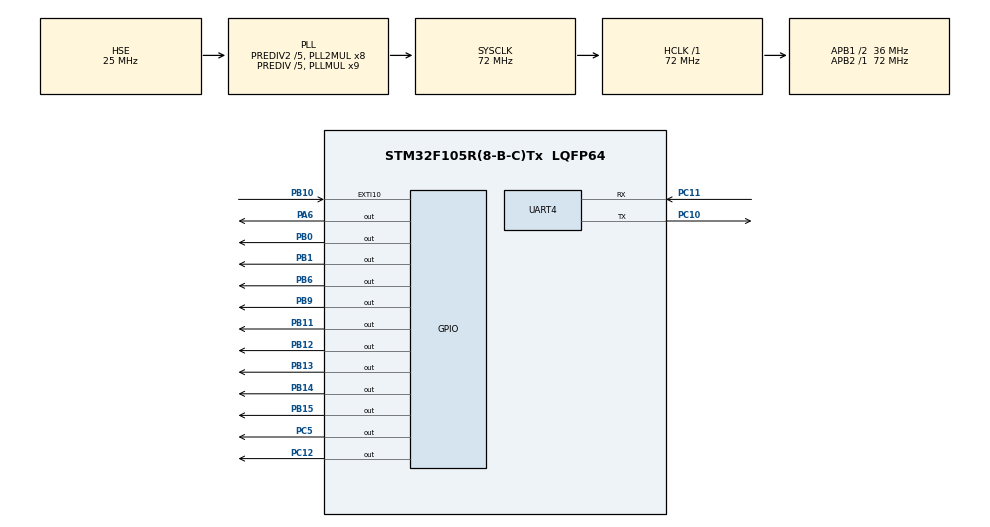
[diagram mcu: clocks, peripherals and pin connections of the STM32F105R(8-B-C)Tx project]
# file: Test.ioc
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Mcu.Family=STM32F1
Mcu.Name=STM32F105R(8-B-C)Tx
Mcu.Package=LQFP64
NVIC.EXTI15_10_IRQn=true\:0\:0\:false\:false\:true\:true\:true\:true
NVIC.PriorityGroup=NVIC_PRIORITYGROUP_4
NVIC.UART4_IRQn=true\:0\:0\:false\:false\:true\:true\:true\:true
PA6.Signal=GPIO_Output
PB0.Signal=GPIO_Output
PB1.Signal=GPIO_Output
PB10.GPIO_PuPd=GPIO_PULLUP
PB10.Signal=GPXTI10
PB11.Signal=GPIO_Output
PB12.Signal=GPIO_Output
PB13.Signal=GPIO_Output
PB14.Signal=GPIO_Output
PB15.Signal=GPIO_Output
PB6.Signal=GPIO_Output
PB9.Signal=GPIO_Output
PC10.Mode=Asynchronous
PC10.Signal=UART4_TX
PC11.Mode=Asynchronous
PC11.Signal=UART4_RX
PC12.Signal=GPIO_Output
PC5.Signal=GPIO_Output
PD0-OSC_IN.Mode=HSE-External-Oscillator
PD0-OSC_IN.Signal=RCC_OSC_IN
PD1-OSC_OUT.Mode=HSE-External-Oscillator
PD1-OSC_OUT.Signal=RCC_OSC_OUT
ProjectManager.HeapSize=0x200
ProjectManager.StackSize=0x400
ProjectManager.TargetToolchain=STM32CubeIDE
RCC.AHBFreq_Value=72000000
RCC.APB1CLKDivider=RCC_HCLK_DIV2
RCC.APB1Freq_Value=36000000
RCC.APB1TimFreq_Value=72000000
RCC.APB2Freq_Value=72000000
RCC.APB2TimFreq_Value=72000000
RCC.HCLKFreq_Value=72000000
RCC.HSEDivPLL=RCC_HSE_PREDIV_DIV5
RCC.HSE_VALUE=25000000
RCC.PLLMUL=RCC_PLL_MUL9
RCC.PLLSourceVirtual=RCC_PLLSOURCE_HSE
RCC.Prediv1Source=RCC_PREDIV1_SOURCE_PLL2
RCC.Prediv2=RCC_HSE_PREDIV2_DIV5
RCC.SYSCLKFreq_VALUE=72000000
RCC.SYSCLKSource=RCC_SYSCLKSOURCE_PLLCLK
RCC.USBFreq_Value=48000000
UART4.VirtualMode=Asynchronous
VP_SYS_VS_ND.Mode=No_Debug
board=custom

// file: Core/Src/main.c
/* USER CODE BEGIN Header */
/**
  ******************************************************************************
  * @file           : main.c
  * @brief          : Main program body
  ******************************************************************************
  * @attention
  *
  * Copyright (c) 2022 STMicroelectronics.
  * All rights reserved.
  *
  * This software is licensed under terms that can be found in the LICENSE file
  * in the root directory of this software component.
  * If no LICENSE file comes with this software, it is provided AS-IS.
  *
  ******************************************************************************
  */
/* USER CODE END Header */
#include "main.h"

/* USER CODE BEGIN PD */
// UART ?��?��?�� ?��?�� ?��?��
#define RxBufferSize	0xFF
#define countof(a)	(sizeof(a) / sizeof(*(a)))
uint8_t RxBuffer[RxBufferSize];
/* USER CODE END PD */

 UART_HandleTypeDef huart4;

/* USER CODE BEGIN PV */
char i=0, cnt=1;
char final_flag = 0;
char msg[10] = { };
char temp_msg[10] = { };
int port_num = 0;
char total_cnt = 0;

uint8_t TxBuffer02[] ="\r----------------------------------------------------------\n";
uint8_t TxBuffer03[] ="\r              ** Power Board Port Control **              \n";
uint8_t TxBuffer04[] ="\r----------------------------------------------------------\n";
uint8_t TxBuffer05[] ="\r[PA6]  : LIDAR_IN_CTRL			\n";
uint8_t TxBuffer06[] ="\r[PB14] : WAKE2_1				\n";
uint8_t TxBuffer07[] ="\r[PB12] : WAKE2_2				\n";
uint8_t TxBuffer08[] ="\r[PB15] : WAKE1_1				\n";
uint8_t TxBuffer09[] ="\r[PB13] : WAKE1_2				\n";
uint8_t TxBuffer10[] ="\r[PB9]  : PWRON_LED_CTL			\n";
uint8_t TxBuffer11[] ="\r[PB1]  : GPU_IN_CTRL			\n";
uint8_t TxBuffer12[] ="\r[PC12] : FAN_12V_ON			\n";
uint8_t TxBuffer13[] ="\r[PB11] : PWR_SHUTDOWN			\n";
uint8_t TxBuffer14[] ="\r[PB6]  : VCC_5V_EN_1			\n";
uint8_t TxBuffer15[] ="\r[PB0]  : AP_GATEWAY_IN_CTRL	\n";
uint8_t TxBuffer16[] ="\r[PC5]  : VCC_5V_EN_2			\n";
uint8_t TxBuffer17[] ="\r----------------------------------------------------------\n";
uint8_t TxBuffer18[] ="\rEX) Type 'PA6 H' or 'PB12 L' 	\n";
uint8_t TxBuffer19[] ="\r----------------------------------------------------------\n\r[Input Command] : ";

/* USER CODE END PV */

void SystemClock_Config(void);
static void MX_GPIO_Init(void);
static void MX_UART4_Init(void);
/* USER CODE BEGIN PFP */
struct GPIO_PORT {
	GPIO_TypeDef	*GPIOx;
	uint16_t		GPIO_Pin;
	GPIO_PinState	PinState;
}gpio;
/* USER CODE END PFP */

/* USER CODE BEGIN 0 */
/* Private function prototypes -----------------------------------------------*/
#ifdef __GNUC__
/* With GCC, small printf (option LD Linker->Libraries->Small printf
   set to 'Yes') calls __io_putchar() */
#define PUTCHAR_PROTOTYPE int __io_putchar(int ch)
#else
#define PUTCHAR_PROTOTYPE int fputc(int ch, FILE *f)
#endif /* __GNUC__ */
/* USER CODE END 0 */

int main(void)
{

  /* MCU Configuration--------------------------------------------------------*/

  /* Reset of all peripherals, Initializes the Flash interface and the Systick. */
  HAL_Init();

  /* Configure the system clock */
  SystemClock_Config();

  /* Initialize all configured peripherals */
  MX_GPIO_Init();
  MX_UART4_Init();
  /* USER CODE BEGIN 2 */
  Menu_Config();
  HAL_UART_Receive_IT(&huart4, (uint8_t*)RxBuffer, 1);
  /* USER CODE END 2 */

  /* Infinite loop */
  while (1)
  {

  }
}

void SystemClock_Config(void)
{
  RCC_OscInitTypeDef RCC_OscInitStruct = {0};
  RCC_ClkInitTypeDef RCC_ClkInitStruct = {0};

  /** Initializes the RCC Oscillators according to the specified parameters
  * in the RCC_OscInitTypeDef structure.
  */
  RCC_OscInitStruct.OscillatorType = RCC_OSCILLATORTYPE_HSE;
  RCC_OscInitStruct.HSEState = RCC_HSE_ON;
  RCC_OscInitStruct.HSEPredivValue = RCC_HSE_PREDIV_DIV5;
  RCC_OscInitStruct.HSIState = RCC_HSI_ON;
  RCC_OscInitStruct.Prediv1Source = RCC_PREDIV1_SOURCE_PLL2;
  RCC_OscInitStruct.PLL.PLLState = RCC_PLL_ON;
  RCC_OscInitStruct.PLL.PLLSource = RCC_PLLSOURCE_HSE;
  RCC_OscInitStruct.PLL.PLLMUL = RCC_PLL_MUL9;
  RCC_OscInitStruct.PLL2.PLL2State = RCC_PLL2_ON;
  RCC_OscInitStruct.PLL2.PLL2MUL = RCC_PLL2_MUL8;
  RCC_OscInitStruct.PLL2.HSEPrediv2Value = RCC_HSE_PREDIV2_DIV5;
  if (HAL_RCC_OscConfig(&RCC_OscInitStruct) != HAL_OK)
  {
    Error_Handler();
  }

  /** Initializes the CPU, AHB and APB buses clocks
  */
  RCC_ClkInitStruct.ClockType = RCC_CLOCKTYPE_HCLK|RCC_CLOCKTYPE_SYSCLK
                              |RCC_CLOCKTYPE_PCLK1|RCC_CLOCKTYPE_PCLK2;
  RCC_ClkInitStruct.SYSCLKSource = RCC_SYSCLKSOURCE_PLLCLK;
  RCC_ClkInitStruct.AHBCLKDivider = RCC_SYSCLK_DIV1;
  RCC_ClkInitStruct.APB1CLKDivider = RCC_HCLK_DIV2;
  RCC_ClkInitStruct.APB2CLKDivider = RCC_HCLK_DIV1;

  if (HAL_RCC_ClockConfig(&RCC_ClkInitStruct, FLASH_LATENCY_2) != HAL_OK)
  {
    Error_Handler();
  }

  /** Configure the Systick interrupt time
  */
  __HAL_RCC_PLLI2S_ENABLE();
}

static void MX_UART4_Init(void)
{

  huart4.Instance = UART4;
  huart4.Init.BaudRate = 115200;
  huart4.Init.WordLength = UART_WORDLENGTH_8B;
  huart4.Init.StopBits = UART_STOPBITS_1;
  huart4.Init.Parity = UART_PARITY_NONE;
  huart4.Init.Mode = UART_MODE_TX_RX;
  huart4.Init.HwFlowCtl = UART_HWCONTROL_NONE;
  huart4.Init.OverSampling = UART_OVERSAMPLING_16;
  if (HAL_UART_Init(&huart4) != HAL_OK)
  {
    Error_Handler();
  }

}

static void MX_GPIO_Init(void)
{
  GPIO_InitTypeDef GPIO_InitStruct = {0};

  /* GPIO Ports Clock Enable */
  __HAL_RCC_GPIOD_CLK_ENABLE();
  __HAL_RCC_GPIOA_CLK_ENABLE();
  __HAL_RCC_GPIOC_CLK_ENABLE();
  __HAL_RCC_GPIOB_CLK_ENABLE();

  /*Configure GPIO pin Output Level */
  HAL_GPIO_WritePin(GPIOA, GPIO_PIN_6, GPIO_PIN_RESET);

  /*Configure GPIO pin Output Level */
  HAL_GPIO_WritePin(GPIOC, GPIO_PIN_5|GPIO_PIN_12, GPIO_PIN_RESET);

  /*Configure GPIO pin Output Level */
  HAL_GPIO_WritePin(GPIOB, GPIO_PIN_0|GPIO_PIN_1|GPIO_PIN_11|GPIO_PIN_12
                          |GPIO_PIN_13|GPIO_PIN_14|GPIO_PIN_15|GPIO_PIN_6
                          |GPIO_PIN_9, GPIO_PIN_RESET);

  /*Configure GPIO pin : PA6 */
  GPIO_InitStruct.Pin = GPIO_PIN_6;
  GPIO_InitStruct.Mode = GPIO_MODE_OUTPUT_PP;
  GPIO_InitStruct.Pull = GPIO_NOPULL;
  GPIO_InitStruct.Speed = GPIO_SPEED_FREQ_LOW;
  HAL_GPIO_Init(GPIOA, &GPIO_InitStruct);

  /*Configure GPIO pins : PC5 PC12 */
  GPIO_InitStruct.Pin = GPIO_PIN_5|GPIO_PIN_12;
  GPIO_InitStruct.Mode = GPIO_MODE_OUTPUT_PP;
  GPIO_InitStruct.Pull = GPIO_NOPULL;
  GPIO_InitStruct.Speed = GPIO_SPEED_FREQ_LOW;
  HAL_GPIO_Init(GPIOC, &GPIO_InitStruct);

  /*Configure GPIO pins : PB0 PB1 PB11 PB12
                           PB13 PB14 PB15 PB6
                           PB9 */
  GPIO_InitStruct.Pin = GPIO_PIN_0|GPIO_PIN_1|GPIO_PIN_11|GPIO_PIN_12
                          |GPIO_PIN_13|GPIO_PIN_14|GPIO_PIN_15|GPIO_PIN_6
                          |GPIO_PIN_9;
  GPIO_InitStruct.Mode = GPIO_MODE_OUTPUT_PP;
  GPIO_InitStruct.Pull = GPIO_NOPULL;
  GPIO_InitStruct.Speed = GPIO_SPEED_FREQ_LOW;
  HAL_GPIO_Init(GPIOB, &GPIO_InitStruct);

  /*Configure GPIO pin : PB10 */
  GPIO_InitStruct.Pin = GPIO_PIN_10;
  GPIO_InitStruct.Mode = GPIO_MODE_IT_RISING;
  GPIO_InitStruct.Pull = GPIO_PULLUP;
  HAL_GPIO_Init(GPIOB, &GPIO_InitStruct);

  /* EXTI interrupt init*/
  HAL_NVIC_SetPriority(EXTI15_10_IRQn, 0, 0);
  HAL_NVIC_EnableIRQ(EXTI15_10_IRQn);

}

/* USER CODE BEGIN 4 */

void Menu_Config(void)
{
	/*
	printf("\n----------------------------------------------------------\r");
	printf("              ** Power Board Port Control **              \r");
	printf("----------------------------------------------------------\r");
	printf("[PA6]  : LIDAR_IN_CTRL			\r");
	printf("[PB14] : WAKE2_1				\r");
	printf("[PB12] : WAKE2_2				\r");
	printf("[PB15] : WAKE1_1				\r");
	printf("[PB13] : WAKE1_2				\r");
	printf("[PB9]  : PWRON_LED_CTL			\r");
	printf("[PB1]  : GPU_IN_CTRL			\r");
	printf("[PC12] : FAN_12V_ON				\r");
	printf("[PB11] : PWR_SHUTDOWN			\r");
	printf("[PB6]  : VCC_5V_EN_1			\r");
	printf("[PB0]  : AP_GATEWAY_IN_CTRL		\r");
	printf("[PC5]  : VCC_5V_EN_2			\r");
	printf("----------------------------------------------------------\r");
	printf("EX) Type 'PA6 H' or 'PB12 L' 	\r");
	printf("----------------------------------------------------------\r");
	*/

	HAL_UART_Transmit(&huart4, (uint8_t*)TxBuffer02, (countof(TxBuffer02) - 1), 0xFFFF);
	HAL_UART_Transmit(&huart4, (uint8_t*)TxBuffer03, (countof(TxBuffer03) - 1), 0xFFFF);
	HAL_UART_Transmit(&huart4, (uint8_t*)TxBuffer04, (countof(TxBuffer04) - 1), 0xFFFF);
	HAL_UART_Transmit(&huart4, (uint8_t*)TxBuffer05, (countof(TxBuffer05) - 1), 0xFFFF);
	HAL_UART_Transmit(&huart4, (uint8_t*)TxBuffer06, (countof(TxBuffer06) - 1), 0xFFFF);
	HAL_UART_Transmit(&huart4, (uint8_t*)TxBuffer07, (countof(TxBuffer07) - 1), 0xFFFF);
	HAL_UART_Transmit(&huart4, (uint8_t*)TxBuffer08, (countof(TxBuffer08) - 1), 0xFFFF);
	HAL_UART_Transmit(&huart4, (uint8_t*)TxBuffer09, (countof(TxBuffer09) - 1), 0xFFFF);
	HAL_UART_Transmit(&huart4, (uint8_t*)TxBuffer10, (countof(TxBuffer10) - 1), 0xFFFF);
	HAL_UART_Transmit(&huart4, (uint8_t*)TxBuffer11, (countof(TxBuffer11) - 1), 0xFFFF);
	HAL_UART_Transmit(&huart4, (uint8_t*)TxBuffer12, (countof(TxBuffer12) - 1), 0xFFFF);
	HAL_UART_Transmit(&huart4, (uint8_t*)TxBuffer13, (countof(TxBuffer13) - 1), 0xFFFF);
	HAL_UART_Transmit(&huart4, (uint8_t*)TxBuffer14, (countof(TxBuffer14) - 1), 0xFFFF);
	HAL_UART_Transmit(&huart4, (uint8_t*)TxBuffer15, (countof(TxBuffer15) - 1), 0xFFFF);
	HAL_UART_Transmit(&huart4, (uint8_t*)TxBuffer16, (countof(TxBuffer16) - 1), 0xFFFF);
	HAL_UART_Transmit(&huart4, (uint8_t*)TxBuffer17, (countof(TxBuffer17) - 1), 0xFFFF);
	HAL_UART_Transmit(&huart4, (uint8_t*)TxBuffer18, (countof(TxBuffer18) - 1), 0xFFFF);
	HAL_UART_Transmit(&huart4, (uint8_t*)TxBuffer19, (countof(TxBuffer19) - 1), 0xFFFF);
}

void HAL_UART_RxCpltCallback(UART_HandleTypeDef *UartHandler)
{
	if(RxBuffer[0] == '\r')
	{
		final_flag = 1;
	}
	else
	{
		msg[i] = RxBuffer[0];
		i++;
	}

	HAL_UART_Receive_IT(&huart4, (uint8_t*)RxBuffer, 1);
}

PUTCHAR_PROTOTYPE
{
  /* Place your implementation of fputc here */
  /* e.g. write a character to the USART1 and Loop until the end of transmission */
  HAL_UART_Transmit(&huart4, (uint8_t *)&ch, 1, 0xFFFF);

  return ch;
}
/* USER CODE END 4 */

void Error_Handler(void)
{
  __disable_irq();
  while (1)
  {
  }
}
